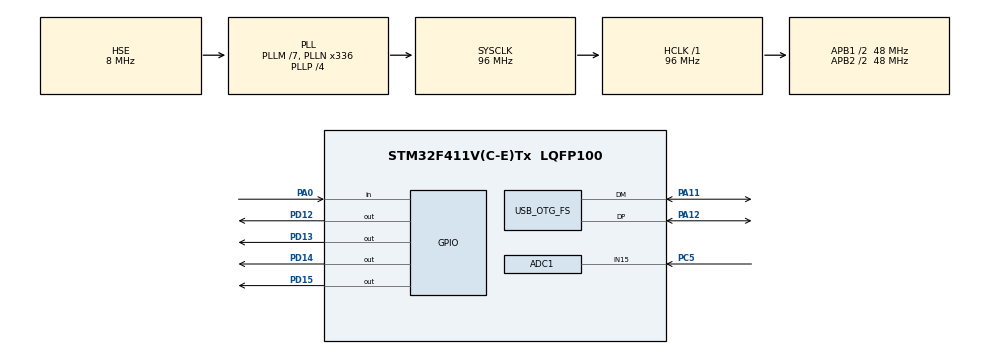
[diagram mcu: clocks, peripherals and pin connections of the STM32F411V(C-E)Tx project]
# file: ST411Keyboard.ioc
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ADC1.Channel-0\#ChannelRegularConversion=ADC_CHANNEL_15
ADC1.ContinuousConvMode=DISABLE
ADC1.NbrOfConversionFlag=1
ADC1.Rank-0\#ChannelRegularConversion=1
ADC1.Resolution=ADC_RESOLUTION_10B
ADC1.SamplingTime-0\#ChannelRegularConversion=ADC_SAMPLETIME_144CYCLES
ADC1.master=1
FREERTOS.BinarySemaphores01=buttonTrigger,Dynamic,NULL
FREERTOS.Tasks01=LEDTASK,8,128,LedFun,Default,NULL,Dynamic,NULL,NULL;KeyBoardTask,16,128,KeyboardFun,Default,NULL,Dynamic,NULL,NULL;ButtonTask,32,128,ButtonFun,Default,NULL,Dynamic,NULL,NULL;ADCTask,40,128,ADCFun,Default,NULL,Dynamic,NULL,NULL
FREERTOS.configUSE_NEWLIB_REENTRANT=1
Mcu.Family=STM32F4
Mcu.Name=STM32F411V(C-E)Tx
Mcu.Package=LQFP100
NVIC.OTG_FS_IRQn=true\:5\:0\:false\:false\:true\:true\:false\:true\:true
NVIC.PriorityGroup=NVIC_PRIORITYGROUP_4
NVIC.TIM1_TRG_COM_TIM11_IRQn=true\:15\:0\:false\:false\:true\:false\:false\:true\:true
NVIC.TimeBase=TIM1_TRG_COM_TIM11_IRQn
NVIC.TimeBaseIP=TIM11
PA0-WKUP.GPIO_PuPd=GPIO_PULLDOWN
PA0-WKUP.Signal=GPIO_Input
PA11.Mode=Device_Only
PA11.Signal=USB_OTG_FS_DM
PA12.Mode=Device_Only
PA12.Signal=USB_OTG_FS_DP
PA13.Mode=Serial_Wire
PA13.Signal=SYS_JTMS-SWDIO
PA14.Mode=Serial_Wire
PA14.Signal=SYS_JTCK-SWCLK
PC5.Signal=ADCx_IN15
PD12.GPIO_PuPd=GPIO_PULLDOWN
PD12.PinState=GPIO_PIN_SET
PD12.Signal=GPIO_Output
PD13.GPIO_PuPd=GPIO_PULLDOWN
PD13.PinState=GPIO_PIN_SET
PD13.Signal=GPIO_Output
PD14.GPIO_PuPd=GPIO_PULLDOWN
PD14.PinState=GPIO_PIN_RESET
PD14.Signal=GPIO_Output
PD15.GPIO_PuPd=GPIO_PULLDOWN
PD15.PinState=GPIO_PIN_SET
PD15.Signal=GPIO_Output
PH0\ -\ OSC_IN.Mode=HSE-External-Oscillator
PH0\ -\ OSC_IN.Signal=RCC_OSC_IN
PH1\ -\ OSC_OUT.Mode=HSE-External-Oscillator
PH1\ -\ OSC_OUT.Signal=RCC_OSC_OUT
ProjectManager.HeapSize=0x200
ProjectManager.StackSize=0x400
ProjectManager.TargetToolchain=STM32CubeIDE
RCC.48MHZClocksFreq_Value=48000000.00000001
RCC.AHBFreq_Value=96000000.00000001
RCC.APB1CLKDivider=RCC_HCLK_DIV2
RCC.APB1Freq_Value=48000000.00000001
RCC.APB1TimFreq_Value=96000000.00000001
RCC.APB2CLKDivider=RCC_HCLK_DIV2
RCC.APB2Freq_Value=48000000.00000001
RCC.APB2TimFreq_Value=96000000.00000001
RCC.CortexFreq_Value=96000000.00000001
RCC.HCLKFreq_Value=96000000.00000001
RCC.HSE_VALUE=8000000
RCC.HSI_VALUE=16000000
RCC.LSE_VALUE=32768
RCC.PLLI2SM=5
RCC.PLLI2SN=200
RCC.PLLM=7
RCC.PLLN=336
RCC.PLLP=RCC_PLLP_DIV4
RCC.PLLQ=8
RCC.SYSCLKFreq_VALUE=96000000.00000001
RCC.SYSCLKSource=RCC_SYSCLKSOURCE_PLLCLK
RCC.VCOOutputFreq_Value=384000000.00000006
SH.ADCx_IN15.0=ADC1_IN15,IN15
USB_DEVICE.CLASS_NAME_FS=HID
USB_DEVICE.PRODUCT_STRING_HID_FS=STM32 Tipkovnica
USB_DEVICE.VirtualMode=Hid
USB_DEVICE.VirtualModeFS=Hid_FS
USB_OTG_FS.VirtualMode=Device_Only
VP_FREERTOS_VS_CMSIS_V2.Mode=CMSIS_V2
VP_SYS_VS_tim11.Mode=TIM11
VP_USB_DEVICE_VS_USB_DEVICE_HID_FS.Mode=HID_FS
board=STM32F411E-DISCO

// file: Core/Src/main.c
/* USER CODE BEGIN Header */
/**
  ******************************************************************************
  * @file           : main.c
  * @brief          : Main program body
  ******************************************************************************
  * @attention
  *
  * Copyright (c) 2024 STMicroelectronics.
  * All rights reserved.
  *
  * This software is licensed under terms that can be found in the LICENSE file
  * in the root directory of this software component.
  * If no LICENSE file comes with this software, it is provided AS-IS.
  *
  ******************************************************************************
  */
/* USER CODE END Header */
#include "main.h"
#include "cmsis_os.h"
#include "adc.h"
#include "usb_device.h"
#include "gpio.h"

void SystemClock_Config(void);
void MX_FREERTOS_Init(void);

int main(void)
{

  /* MCU Configuration--------------------------------------------------------*/

  /* Reset of all peripherals, Initializes the Flash interface and the Systick. */
  HAL_Init();

  /* Configure the system clock */
  SystemClock_Config();

  /* Initialize all configured peripherals */
  MX_GPIO_Init();
  MX_ADC1_Init();

  /* Init scheduler */
  osKernelInitialize();

  /* Call init function for freertos objects (in freertos.c) */
  MX_FREERTOS_Init();

  /* Start scheduler */
  osKernelStart();

  /* We should never get here as control is now taken by the scheduler */
  /* Infinite loop */
  while (1)
  {

  }
}

void SystemClock_Config(void)
{
  RCC_OscInitTypeDef RCC_OscInitStruct = {0};
  RCC_ClkInitTypeDef RCC_ClkInitStruct = {0};

  /** Configure the main internal regulator output voltage
  */
  __HAL_RCC_PWR_CLK_ENABLE();
  __HAL_PWR_VOLTAGESCALING_CONFIG(PWR_REGULATOR_VOLTAGE_SCALE1);

  /** Initializes the RCC Oscillators according to the specified parameters
  * in the RCC_OscInitTypeDef structure.
  */
  RCC_OscInitStruct.OscillatorType = RCC_OSCILLATORTYPE_HSE;
  RCC_OscInitStruct.HSEState = RCC_HSE_ON;
  RCC_OscInitStruct.PLL.PLLState = RCC_PLL_ON;
  RCC_OscInitStruct.PLL.PLLSource = RCC_PLLSOURCE_HSE;
  RCC_OscInitStruct.PLL.PLLM = 7;
  RCC_OscInitStruct.PLL.PLLN = 336;
  RCC_OscInitStruct.PLL.PLLP = RCC_PLLP_DIV4;
  RCC_OscInitStruct.PLL.PLLQ = 8;
  if (HAL_RCC_OscConfig(&RCC_OscInitStruct) != HAL_OK)
  {
    Error_Handler();
  }

  /** Initializes the CPU, AHB and APB buses clocks
  */
  RCC_ClkInitStruct.ClockType = RCC_CLOCKTYPE_HCLK|RCC_CLOCKTYPE_SYSCLK
                              |RCC_CLOCKTYPE_PCLK1|RCC_CLOCKTYPE_PCLK2;
  RCC_ClkInitStruct.SYSCLKSource = RCC_SYSCLKSOURCE_PLLCLK;
  RCC_ClkInitStruct.AHBCLKDivider = RCC_SYSCLK_DIV1;
  RCC_ClkInitStruct.APB1CLKDivider = RCC_HCLK_DIV2;
  RCC_ClkInitStruct.APB2CLKDivider = RCC_HCLK_DIV2;

  if (HAL_RCC_ClockConfig(&RCC_ClkInitStruct, FLASH_LATENCY_3) != HAL_OK)
  {
    Error_Handler();
  }
}

void HAL_TIM_PeriodElapsedCallback(TIM_HandleTypeDef *htim)
{
  if (htim->Instance == TIM11) {
    HAL_IncTick();
  }
}

void Error_Handler(void)
{
  __disable_irq();
  while (1)
  {
  }
}

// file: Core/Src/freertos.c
/* USER CODE BEGIN Header */
/**
 ******************************************************************************
 * File Name          : freertos.c
 * Description        : Code for freertos applications
 ******************************************************************************
 * @attention
 *
 * Copyright (c) 2024 STMicroelectronics.
 * All rights reserved.
 *
 * This software is licensed under terms that can be found in the LICENSE file
 * in the root directory of this software component.
 * If no LICENSE file comes with this software, it is provided AS-IS.
 *
 ******************************************************************************
 */
/* USER CODE END Header */

#include "FreeRTOS.h"
#include "task.h"
#include "main.h"
#include "cmsis_os.h"

/* USER CODE BEGIN Includes */
#include "usbd_hid.h"

/* USER CODE END Includes */

/* USER CODE BEGIN Variables */
extern USBD_HandleTypeDef hUsbDeviceFS;

/* USER CODE END Variables */
/* Definitions for LEDTASK */
osThreadId_t LEDTASKHandle;
const osThreadAttr_t LEDTASK_attributes = {
  .name = "LEDTASK",
  .stack_size = 128 * 4,
  .priority = (osPriority_t) osPriorityLow,
};
/* Definitions for KeyBoardTask */
osThreadId_t KeyBoardTaskHandle;
const osThreadAttr_t KeyBoardTask_attributes = {
  .name = "KeyBoardTask",
  .stack_size = 128 * 4,
  .priority = (osPriority_t) osPriorityBelowNormal,
};
/* Definitions for ButtonTask */
osThreadId_t ButtonTaskHandle;
const osThreadAttr_t ButtonTask_attributes = {
  .name = "ButtonTask",
  .stack_size = 128 * 4,
  .priority = (osPriority_t) osPriorityAboveNormal,
};
/* Definitions for ADCTask */
osThreadId_t ADCTaskHandle;
const osThreadAttr_t ADCTask_attributes = {
  .name = "ADCTask",
  .stack_size = 128 * 4,
  .priority = (osPriority_t) osPriorityHigh,
};
/* Definitions for buttonTrigger */
osSemaphoreId_t buttonTriggerHandle;
const osSemaphoreAttr_t buttonTrigger_attributes = {
  .name = "buttonTrigger"
};

void LedFun(void *argument);
void KeyboardFun(void *argument);
void ButtonFun(void *argument);
void ADCFun(void *argument);

extern void MX_USB_DEVICE_Init(void);
void MX_FREERTOS_Init(void); /* (MISRA C 2004 rule 8.1) */

void MX_FREERTOS_Init(void) {

  /* Create the semaphores(s) */
  /* creation of buttonTrigger */
  buttonTriggerHandle = osSemaphoreNew(1, 0, &buttonTrigger_attributes);

  /* Create the thread(s) */
  /* creation of LEDTASK */
  LEDTASKHandle = osThreadNew(LedFun, NULL, &LEDTASK_attributes);

  /* creation of KeyBoardTask */
  KeyBoardTaskHandle = osThreadNew(KeyboardFun, NULL, &KeyBoardTask_attributes);

  /* creation of ButtonTask */
  ButtonTaskHandle = osThreadNew(ButtonFun, NULL, &ButtonTask_attributes);

  /* creation of ADCTask */
  ADCTaskHandle = osThreadNew(ADCFun, NULL, &ADCTask_attributes);

}

void LedFun(void *argument)
{
  /* init code for USB_DEVICE */
  MX_USB_DEVICE_Init();
  /* USER CODE BEGIN LedFun */
	/* Infinite loop */
	for(;;)
	{
		HAL_GPIO_TogglePin(GPIOD, GPIO_PIN_12);
		osDelay(200);
		HAL_GPIO_TogglePin(GPIOD, GPIO_PIN_13);
		osDelay(200);
		HAL_GPIO_TogglePin(GPIOD, GPIO_PIN_14);
		osDelay(200);
	}
  /* USER CODE END LedFun */
}

/* USER CODE BEGIN Header_KeyboardFun */
/**
 * @brief Function implementing the KeyBoardTask thread.
 * @param argument: Not used
 * @retval None
 */

/*
 * STEP TO DO WHEN WE REBUILD code:
 *  1. in file Middlewares/ST/STM32_USB_Device_Library/Class/HID/Src/usdb_hid.c:
 *     - in line 161 change nInterfaceProtocol to 1 (keyboard) /* nInterfaceProtocol : 0=none, 1=keyboard, 2=mouse
 *     - from URL https://github.com/NordicSemiconductor/ble-sdk-arduino/blob/master/libraries/BLE/examples/ble_HID_keyboard_template/USD%20HID%20Report%20Descriptor%20-%20Keyboard.txt
 *        copy content of the file (start in line 3) and replace it in HID_MOUSE_ReportDesc[HID_MOUSE_REPORT_DESC_SIZE] in line 220 (whole array)
 *  2. in file Middlewares/ST/STM32_USB_Device_Library/Class/HID/Src/usdb_hid.d:
 *     - replace HID_MOUSE_REPORT_DESC_SIZE property with 63U  (by default it should be 74U)
 *  3. in file https://www.usb.org/sites/default/files/documents/hid1_11.pdf we have definition of "keyboard" protocol on page 70
 *  4. in file https://www.usb.org/sites/default/files/documents/hut1_12v2.pdf we have "key codes" on page 53
 */

/* USER CODE END Header_KeyboardFun */
void KeyboardFun(void *argument)
{
  /* USER CODE BEGIN KeyboardFun */
	osSemaphoreAcquire(buttonTriggerHandle, osWaitForever);
	/* init code for USB_DEVICE */
	MX_USB_DEVICE_Init();
	/* Infinite loop */
	uint8_t hidBuffer[8] = {0};
	for(;;)
	{
		if (osSemaphoreAcquire(buttonTriggerHandle, 200) == osOK)
		{
			HAL_GPIO_TogglePin(GPIOD, GPIO_PIN_15);

			hidBuffer[2] = 0x2C; //spacebar click
			USBD_HID_SendReport(&hUsbDeviceFS, hidBuffer, 8);
			HAL_Delay(50);

			hidBuffer[2] = 0;
			USBD_HID_SendReport(&hUsbDeviceFS, hidBuffer, 8);
			HAL_Delay(50);
		}
	}
  /* USER CODE END KeyboardFun */
}

void ButtonFun(void *argument)
{
  /* USER CODE BEGIN ButtonFun */
	/* Infinite loop */
	uint8_t previousState = 0;
	uint8_t currentState = 0;
	for(;;)
	{
		currentState = HAL_GPIO_ReadPin(GPIOA, GPIO_PIN_0);

		if(currentState == GPIO_PIN_SET && currentState != previousState)
			osSemaphoreRelease(buttonTriggerHandle);

		previousState = currentState;
		osDelay(30);
	}
  /* USER CODE END ButtonFun */
}

/* USER CODE BEGIN Header_ADCFun */
extern ADC_HandleTypeDef hadc1;
/**
* @brief Function implementing the ADCTask thread.
* @param argument: Not used
* @retval None
*/
/* USER CODE END Header_ADCFun */
void ADCFun(void *argument)
{
  /* USER CODE BEGIN ADCFun */
  /* Infinite loop */
  const uint8_t size = 2;
  const uint8_t MA_SIZE = 1 << size; //8 samples

  uint8_t index = 0;
  uint32_t sum = 0;

  for(;;)
  {
	  if(HAL_ADC_Start(&hadc1) == HAL_OK)
	  {
		  if(HAL_ADC_PollForConversion(&hadc1, 200) == HAL_OK)
		  {
			  sum += HAL_ADC_GetValue(&hadc1);
			  index++;

			  if(index >= MA_SIZE){
				  uint32_t avearage = sum >> size; //calculate average of last MA_SIZE values
				  if (avg > 500)
					  osSemaphoreRelease(buttonTriggerHandle);
				  index = 0;
				  sum = 0;
			  }

		  }
		  HAL_ADC_Stop(&hadc1);
	  }
	  osDelay(20);
  }
  /* USER CODE END ADCFun */
}
